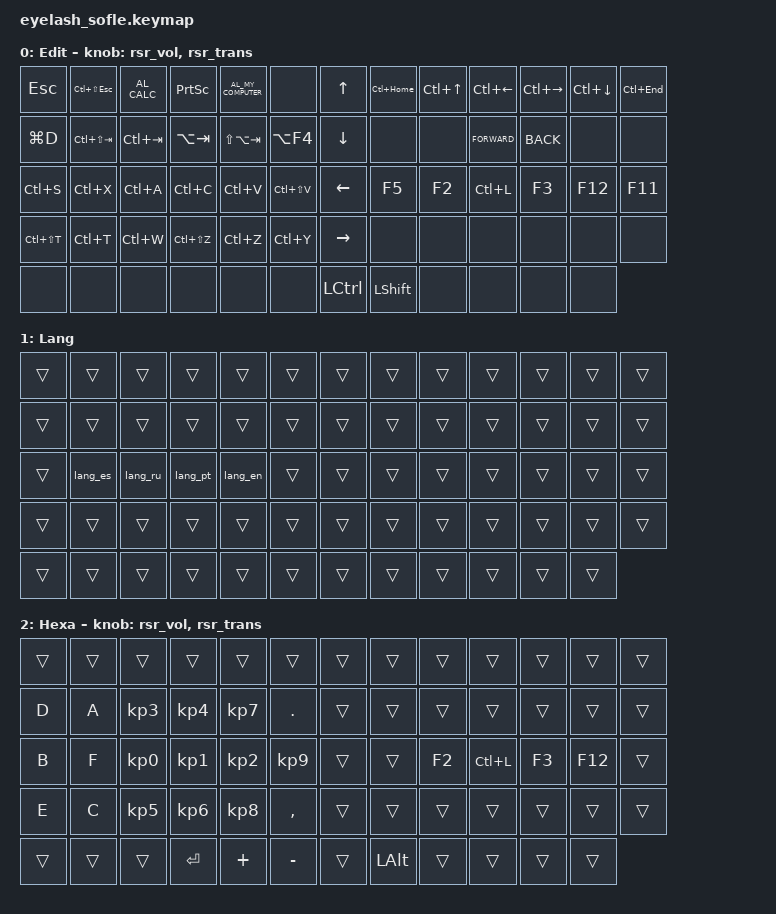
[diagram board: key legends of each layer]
#include <input/processors.dtsi>
#include <zephyr/dt-bindings/input/input-event-codes.h>
#include <behaviors.dtsi>
#include <dt-bindings/zmk/bt.h>
#include <dt-bindings/zmk/keys.h>
#include <dt-bindings/zmk/outputs.h>
#include <dt-bindings/zmk/pointing.h>
#include <dt-bindings/zmk/rgb.h>
#include <behaviors/runtime-sensor-rotate.dtsi>
#include <dt-bindings/zmk/mouse.h>

#define HOME_EN 0
#define SHFT_EN 1
#define NUMS_EN 2

#define HOME_PT 3
#define SHFT_PT 4
#define NUMS_PT 5

#define HOME_RU 6
#define SHFT_RU 7
#define NUMS_RU 8

#define HOME_ES 9
#define SHFT_ES 10
#define NUMS_ES 11

#define EDIT 12
#define LANG 13
#define HEXA 14

/ {
    zip_scroll_scaler: zip_scroll_scaler {
        compatible = "zmk,input-processor-scaler";
        #input-processor-cells = <2>;
        type = <INPUT_EV_REL>;
        codes = <INPUT_REL_WHEEL INPUT_REL_HWHEEL>;
        track-remainders;
    };
};

&mmv_input_listener { input-processors = <&zip_xy_scaler 2 1>; };

&msc_input_listener { input-processors = <&zip_scroll_scaler 2 1>; };

&msc {
    acceleration-exponent = <0>;      // 0
    time-to-max-speed-ms = <0>;       // 300
    delay-ms = <0>;                   // 0
};

&mmv {
    time-to-max-speed-ms = <400>;
    acceleration-exponent = <1>;
};

&soft_off { hold-time-ms = <2000>; };

/ {
    behaviors {
        rsr_vol: rsr_vol {
            compatible = "zmk,behavior-runtime-sensor-rotate";
            #sensor-binding-cells = <0>;
            tap-ms = <0>;
            cw-binding = <&kp C_VOL_UP>;
            ccw-binding = <&kp C_VOL_DN>;
        };

        rsr_trans: rsr_trans {
            compatible = "zmk,behavior-runtime-sensor-rotate";
            #sensor-binding-cells = <0>;
            tap-ms = <0>;
        };
    };

    macros {
        shift_MB3: shift_MB3 {
            compatible = "zmk,behavior-macro";
            #binding-cells = <0>;
            bindings =
                <&macro_press>,
                <&kp LEFT_SHIFT>,
                <&macro_press>,
                <&mkp MB3>,
                <&macro_pause_for_release>,
                <&macro_release>,
                <&mkp MB3 &kp LEFT_SHIFT>;

            label = "SHIFT_MB3";
        };
        lang_en: lang_en {
        compatible = "zmk,behavior-macro";
        #binding-cells = <0>;

        bindings =
            <&macro_press &kp LSHIFT &kp LALT>,
            <&macro_tap &kp N0>,
            <&macro_release &kp LALT &kp LSHIFT>,
            <&macro_tap &to HOME_EN>;
        };
        lang_pt: lang_pt {
        compatible = "zmk,behavior-macro";
        #binding-cells = <0>;

        bindings =
            <&macro_press &kp LSHIFT &kp LALT>,
            <&macro_tap &kp N1>,
            <&macro_release &kp LALT &kp LSHIFT>,
            <&macro_tap &to HOME_PT>;
        };
        pt_low_a_grv: pt_low_a_grv {
        compatible = "zmk,behavior-macro";
        #binding-cells = <0>;

        bindings =
            <&kp LBRC>,
            <&kp A>;
        };
        pt_upp_a_grv: pt_upp_a_grv {
        compatible = "zmk,behavior-macro";
        #binding-cells = <0>;

        bindings =
            <&kp LBRC>,
            <&kp LS(A)>;
        };
        lang_ru: lang_ru {
        compatible = "zmk,behavior-macro";
        #binding-cells = <0>;

        bindings =
            <&macro_press &kp LSHIFT &kp LALT>,
            <&macro_tap &kp N2>,
            <&macro_release &kp LALT &kp LSHIFT>,
            <&macro_tap &to HOME_RU>;
        };
        lang_es: lang_es {
        compatible = "zmk,behavior-macro";
        #binding-cells = <0>;

        bindings =
            <&macro_press &kp LSHIFT &kp LALT>,
            <&macro_tap &kp N3>,
            <&macro_release &kp LALT &kp LSHIFT>,
            <&macro_tap &to HOME_ES>;
        };
        es_low_u_dia: es_low_u_dia {
        compatible = "zmk,behavior-macro";
        #binding-cells = <0>;

        bindings =
            <&kp LBRC>,
            <&kp U>;
        };
        es_upp_u_dia: es_upp_u_dia {
        compatible = "zmk,behavior-macro";
        #binding-cells = <0>;

        bindings =
            <&kp LBRC>,
            <&kp LS(U)>;
        };
    };

    combos {
        compatible = "zmk,combos";

        softoff {
            bindings = <&soft_off>;
            key-positions = <14 28 40>;
        };
    };

    keymap {
        compatible = "zmk,keymap";

        #include "languages/english.dtsi"
        #include "languages/portuguese.dtsi"
        #include "languages/russian.dtsi"
        #include "languages/spanish.dtsi"

        editing {
            bindings = <
&kp ESC       &kp LC(LS(ESC)) &kp C_AL_CALC &kp PSCRN &kp C_AL_MY_COMPUTER &none        &kp UP        &kp LC(HOME)  &kp LC(UP)    &kp LC(LEFT)  &kp LC(RIGHT) &kp LC(DOWN)  &kp LC(END)
&kp LG(D)     &kp LC(LS(TAB)) &kp LC(TAB)   &kp LA(TAB)   &kp LS(LA(TAB)) &kp LA(F4)    &kp DOWN      &none         &none         &kp K_FORWARD &kp K_BACK    &none         &none
&kp LC(S)     &kp LC(X)       &kp LC(A)     &kp LC(C)     &kp LC(V)       &kp LC(LS(V)) &kp LEFT      &kp F5        &kp F2        &kp LC(L)     &kp F3        &kp F12       &kp F11
&kp LC(LS(T)) &kp LC(T)       &kp LC(W)     &kp LC(LS(Z)) &kp LC(Z)       &kp LC(Y)     &kp RIGHT     &none         &none         &none         &none         &none         &none
&none         &none           &none         &none         &none           &none         &kp LCTRL     &kp LSHFT     &none         &none         &none         &none
            >;
            display-name = "Edit";
            sensor-bindings = <&rsr_vol &rsr_trans>;
        };

        language {
            bindings = <
&trans        &trans        &trans        &trans        &trans        &trans        &trans        &trans        &trans        &trans        &trans        &trans        &trans
&trans        &trans        &trans        &trans        &trans        &trans        &trans        &trans        &trans        &trans        &trans        &trans        &trans
&trans        &lang_es      &lang_ru      &lang_pt      &lang_en      &trans        &trans        &trans        &trans        &trans        &trans        &trans        &trans
&trans        &trans        &trans        &trans        &trans        &trans        &trans        &trans        &trans        &trans        &trans        &trans        &trans
&trans        &trans        &trans        &trans        &trans        &trans        &trans        &trans        &trans        &trans        &trans        &trans
            >;
            display-name = "Lang";
        };

        hexadecimal {
            bindings = <
&trans        &trans        &trans        &trans        &trans        &trans        &trans        &trans        &trans        &trans        &trans        &trans        &trans
&kp D         &kp A         &kp KP_N3     &kp KP_N4     &kp KP_N7     &kp DOT       &trans        &trans        &trans        &trans        &trans        &trans        &trans
&kp B         &kp F         &kp KP_N0     &kp KP_N1     &kp KP_N2     &kp KP_N9     &trans        &trans        &kp F2        &kp LC(L)     &kp F3        &kp F12       &trans
&kp E         &kp C         &kp KP_N5     &kp KP_N6     &kp KP_N8     &kp COMMA     &trans        &trans        &trans        &trans        &trans        &trans        &trans
&trans        &trans        &trans        &kp ENTER     &kp PLUS      &kp MINUS     &trans        &kp LALT      &trans        &trans        &trans        &trans
            >;
            display-name = "Hexa";
            sensor-bindings = <&rsr_vol &rsr_trans>;
        };
    };
};
